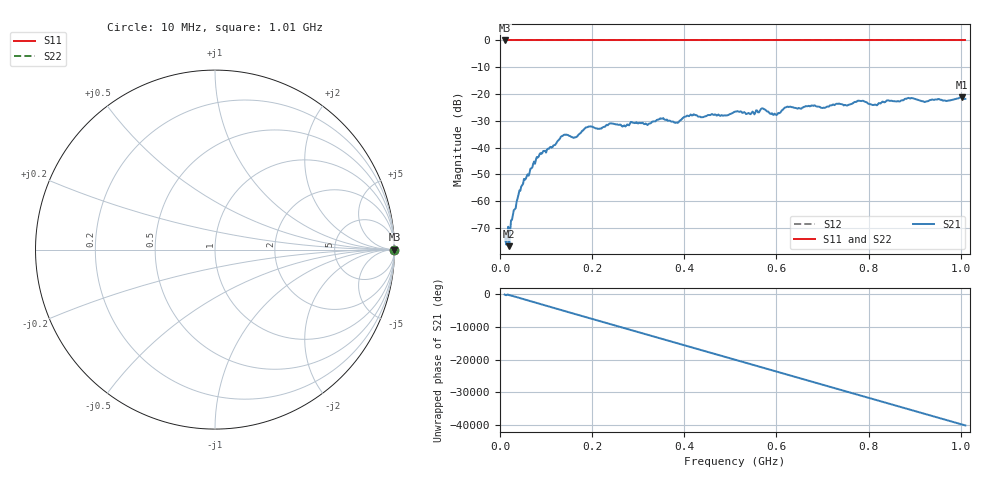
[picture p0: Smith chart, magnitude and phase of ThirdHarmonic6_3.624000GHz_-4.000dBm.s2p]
! 8/17/2025 12:08:11 PM
! C:\ANRITSUVNA\TEMP\TEMP.S2P
! CHANNEL.1
! TR.MEASUREMENT
! RAW.DATA
! RF.CORRECTION.OFF
! AVERAGING.OFF
! IF.BANDWIDTH: 5KHZ
! SWEEPTYPE:  FREQ.SWEEP(Linear)
! Reference Plane Port Info
! PORT:  PORT1  PORT2
! DISTANCE:  0  m  0  m
! TIME:  0  s  0  s
! PHASE.OFFSET:  0  deg.  0  deg.
! LOSS:  0  dB  0  dB
! REF.LOSS:  0  dB  0  dB
! REF.FREQ:  0  Hz  0  Hz
! Power Info
! POWER:  -20  dBm  -20  dBm
! EFF.POWER:  -20  dBm  -20  dBm
! SOURCE.ATTEN:  0  dB  0  dB
! TEST.ATTEN:  0  dB  0  dB
# GHZ S RI R 50.0
! FREQ.GHZ  S11RE  S11IM  S21RE  S21IM  S12RE  S12IM  S22RE  S22IM
!; PortSelection: Port_12
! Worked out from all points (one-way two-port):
!   501 points, 10 MHz to 1.01 GHz, reference 50 ohm
!   highest |S21| = -21.18 dB at 1.002 GHz (marker M1); lowest = -76.8 dB at 20 MHz (marker M2)
!   lowest |S11| = 0.0 dB at 10 MHz (marker M3)
!   |S11| at or under -10 dB: nowhere
!   |S22| runs from 0.0 to 0.0 dB; largest |S21 - S12| = 1.1
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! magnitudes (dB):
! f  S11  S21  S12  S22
! 10 MHz  0.0  -72.1  0.0  0.0
! 16 MHz  0.0  -72.3  0.0  0.0
! 20 MHz  0.0  -76.8  0.0  0.0
! 44 MHz  0.0  -56.1  0.0  0.0
! 84 MHz  0.0  -43.4  0.0  0.0
! 136 MHz  0.0  -35.6  0.0  0.0
! 162 MHz  0.0  -36.2  0.0  0.0
! 178 MHz  0.0  -33.7  0.0  0.0
! 194 MHz  0.0  -32.1  0.0  0.0
! 322 MHz  0.0  -31.2  0.0  0.0
! 344 MHz  0.0  -29.5  0.0  0.0
! 382 MHz  0.0  -30.6  0.0  0.0
! 410 MHz  0.0  -28.3  0.0  0.0
! 510 MHz  0.0  -26.6  0.0  0.0
! 570 MHz  0.0  -25.3  0.0  0.0
! 598 MHz  0.0  -27.6  0.0  0.0
! 622 MHz  0.0  -24.8  0.0  0.0
! 678 MHz  0.0  -24.3  0.0  0.0
! 814 MHz  0.0  -23.9  0.0  0.0
! 844 MHz  0.0  -22.5  0.0  0.0
! 1.002 GHz  0.0  -21.2  0.0  0.0
! 1.01 GHz  0.0  -21.8  0.0  0.0
